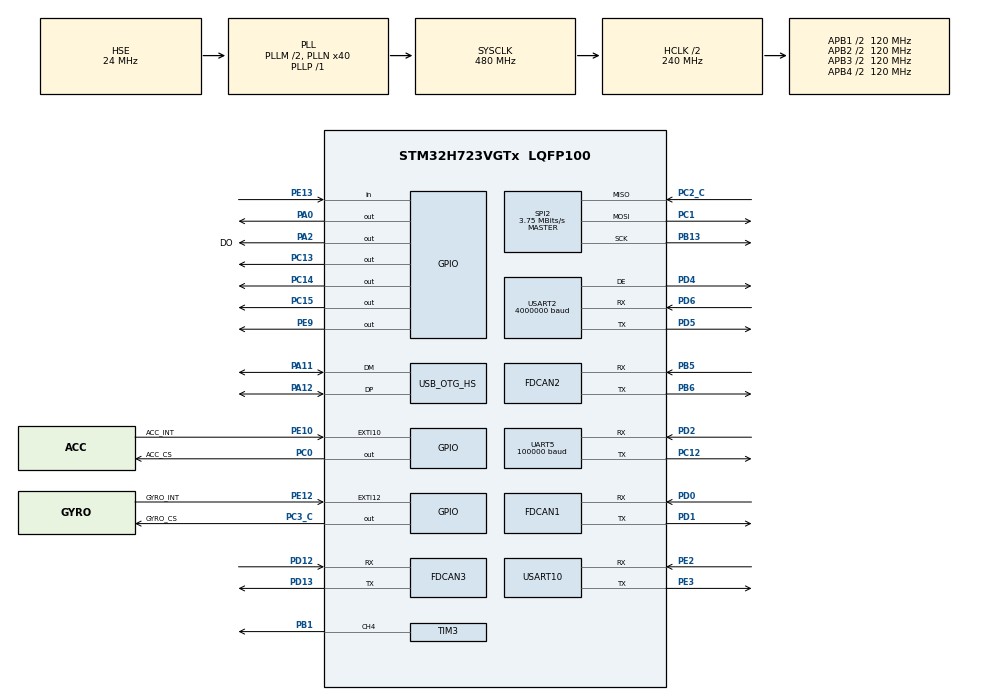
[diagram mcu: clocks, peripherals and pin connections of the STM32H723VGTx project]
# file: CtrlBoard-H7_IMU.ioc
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Dma.Request0=SPI2_RX
Dma.Request1=SPI2_TX
Dma.Request2=UART5_RX
Dma.Request3=USART2_RX
Dma.Request4=USART2_TX
Dma.Request5=USART10_RX
Dma.Request6=USART10_TX
Dma.SPI2_RX.0.Direction=DMA_PERIPH_TO_MEMORY
Dma.SPI2_RX.0.EventEnable=DISABLE
Dma.SPI2_RX.0.FIFOMode=DMA_FIFOMODE_DISABLE
Dma.SPI2_RX.0.Instance=DMA1_Stream0
Dma.SPI2_RX.0.MemDataAlignment=DMA_MDATAALIGN_BYTE
Dma.SPI2_RX.0.MemInc=DMA_MINC_ENABLE
Dma.SPI2_RX.0.Mode=DMA_NORMAL
Dma.SPI2_RX.0.PeriphDataAlignment=DMA_PDATAALIGN_BYTE
Dma.SPI2_RX.0.PeriphInc=DMA_PINC_DISABLE
Dma.SPI2_RX.0.Polarity=HAL_DMAMUX_REQ_GEN_RISING
Dma.SPI2_RX.0.Priority=DMA_PRIORITY_VERY_HIGH
Dma.SPI2_RX.0.RequestNumber=1
Dma.SPI2_RX.0.SignalID=NONE
Dma.SPI2_RX.0.SyncEnable=DISABLE
Dma.SPI2_RX.0.SyncPolarity=HAL_DMAMUX_SYNC_NO_EVENT
Dma.SPI2_RX.0.SyncRequestNumber=1
Dma.SPI2_RX.0.SyncSignalID=NONE
Dma.SPI2_TX.1.Direction=DMA_MEMORY_TO_PERIPH
Dma.SPI2_TX.1.EventEnable=DISABLE
Dma.SPI2_TX.1.FIFOMode=DMA_FIFOMODE_DISABLE
Dma.SPI2_TX.1.Instance=DMA1_Stream1
Dma.SPI2_TX.1.MemDataAlignment=DMA_MDATAALIGN_BYTE
Dma.SPI2_TX.1.MemInc=DMA_MINC_ENABLE
Dma.SPI2_TX.1.Mode=DMA_NORMAL
Dma.SPI2_TX.1.PeriphDataAlignment=DMA_PDATAALIGN_BYTE
Dma.SPI2_TX.1.PeriphInc=DMA_PINC_DISABLE
Dma.SPI2_TX.1.Polarity=HAL_DMAMUX_REQ_GEN_RISING
Dma.SPI2_TX.1.Priority=DMA_PRIORITY_HIGH
Dma.SPI2_TX.1.RequestNumber=1
Dma.SPI2_TX.1.SignalID=NONE
Dma.SPI2_TX.1.SyncEnable=DISABLE
Dma.SPI2_TX.1.SyncPolarity=HAL_DMAMUX_SYNC_NO_EVENT
Dma.SPI2_TX.1.SyncRequestNumber=1
Dma.SPI2_TX.1.SyncSignalID=NONE
Dma.UART5_RX.2.Direction=DMA_PERIPH_TO_MEMORY
Dma.UART5_RX.2.EventEnable=DISABLE
Dma.UART5_RX.2.FIFOMode=DMA_FIFOMODE_DISABLE
Dma.UART5_RX.2.Instance=DMA1_Stream2
Dma.UART5_RX.2.MemDataAlignment=DMA_MDATAALIGN_BYTE
Dma.UART5_RX.2.MemInc=DMA_MINC_ENABLE
Dma.UART5_RX.2.Mode=DMA_CIRCULAR
Dma.UART5_RX.2.PeriphDataAlignment=DMA_PDATAALIGN_BYTE
Dma.UART5_RX.2.PeriphInc=DMA_PINC_DISABLE
Dma.UART5_RX.2.Polarity=HAL_DMAMUX_REQ_GEN_RISING
Dma.UART5_RX.2.Priority=DMA_PRIORITY_VERY_HIGH
Dma.UART5_RX.2.RequestNumber=1
Dma.UART5_RX.2.SignalID=NONE
Dma.UART5_RX.2.SyncEnable=DISABLE
Dma.UART5_RX.2.SyncPolarity=HAL_DMAMUX_SYNC_NO_EVENT
Dma.UART5_RX.2.SyncRequestNumber=1
Dma.UART5_RX.2.SyncSignalID=NONE
Dma.USART10_RX.5.Direction=DMA_PERIPH_TO_MEMORY
Dma.USART10_RX.5.EventEnable=DISABLE
Dma.USART10_RX.5.FIFOMode=DMA_FIFOMODE_DISABLE
Dma.USART10_RX.5.Instance=DMA1_Stream5
Dma.USART10_RX.5.MemDataAlignment=DMA_MDATAALIGN_BYTE
Dma.USART10_RX.5.MemInc=DMA_MINC_ENABLE
Dma.USART10_RX.5.Mode=DMA_CIRCULAR
Dma.USART10_RX.5.PeriphDataAlignment=DMA_PDATAALIGN_BYTE
Dma.USART10_RX.5.PeriphInc=DMA_PINC_DISABLE
Dma.USART10_RX.5.Polarity=HAL_DMAMUX_REQ_GEN_RISING
Dma.USART10_RX.5.Priority=DMA_PRIORITY_HIGH
Dma.USART10_RX.5.RequestNumber=1
Dma.USART10_RX.5.SignalID=NONE
Dma.USART10_RX.5.SyncEnable=DISABLE
Dma.USART10_RX.5.SyncPolarity=HAL_DMAMUX_SYNC_NO_EVENT
Dma.USART10_RX.5.SyncRequestNumber=1
Dma.USART10_RX.5.SyncSignalID=NONE
Dma.USART10_TX.6.Direction=DMA_MEMORY_TO_PERIPH
Dma.USART10_TX.6.EventEnable=DISABLE
Dma.USART10_TX.6.FIFOMode=DMA_FIFOMODE_DISABLE
Dma.USART10_TX.6.Instance=DMA1_Stream6
Dma.USART10_TX.6.MemDataAlignment=DMA_MDATAALIGN_BYTE
Dma.USART10_TX.6.MemInc=DMA_MINC_ENABLE
Dma.USART10_TX.6.Mode=DMA_NORMAL
Dma.USART10_TX.6.PeriphDataAlignment=DMA_PDATAALIGN_BYTE
Dma.USART10_TX.6.PeriphInc=DMA_PINC_DISABLE
Dma.USART10_TX.6.Polarity=HAL_DMAMUX_REQ_GEN_RISING
Dma.USART10_TX.6.Priority=DMA_PRIORITY_HIGH
Dma.USART10_TX.6.RequestNumber=1
Dma.USART10_TX.6.SignalID=NONE
Dma.USART10_TX.6.SyncEnable=DISABLE
Dma.USART10_TX.6.SyncPolarity=HAL_DMAMUX_SYNC_NO_EVENT
Dma.USART10_TX.6.SyncRequestNumber=1
Dma.USART10_TX.6.SyncSignalID=NONE
Dma.USART2_RX.3.Direction=DMA_PERIPH_TO_MEMORY
Dma.USART2_RX.3.EventEnable=DISABLE
Dma.USART2_RX.3.FIFOMode=DMA_FIFOMODE_DISABLE
Dma.USART2_RX.3.Instance=DMA1_Stream3
Dma.USART2_RX.3.MemDataAlignment=DMA_MDATAALIGN_BYTE
Dma.USART2_RX.3.MemInc=DMA_MINC_ENABLE
Dma.USART2_RX.3.Mode=DMA_CIRCULAR
Dma.USART2_RX.3.PeriphDataAlignment=DMA_PDATAALIGN_BYTE
Dma.USART2_RX.3.PeriphInc=DMA_PINC_DISABLE
Dma.USART2_RX.3.Polarity=HAL_DMAMUX_REQ_GEN_RISING
Dma.USART2_RX.3.Priority=DMA_PRIORITY_HIGH
Dma.USART2_RX.3.RequestNumber=1
Dma.USART2_RX.3.SignalID=NONE
Dma.USART2_RX.3.SyncEnable=DISABLE
Dma.USART2_RX.3.SyncPolarity=HAL_DMAMUX_SYNC_NO_EVENT
Dma.USART2_RX.3.SyncRequestNumber=1
Dma.USART2_RX.3.SyncSignalID=NONE
Dma.USART2_TX.4.Direction=DMA_MEMORY_TO_PERIPH
Dma.USART2_TX.4.EventEnable=DISABLE
Dma.USART2_TX.4.FIFOMode=DMA_FIFOMODE_DISABLE
Dma.USART2_TX.4.Instance=DMA1_Stream4
Dma.USART2_TX.4.MemDataAlignment=DMA_MDATAALIGN_BYTE
Dma.USART2_TX.4.MemInc=DMA_MINC_ENABLE
Dma.USART2_TX.4.Mode=DMA_NORMAL
Dma.USART2_TX.4.PeriphDataAlignment=DMA_PDATAALIGN_BYTE
Dma.USART2_TX.4.PeriphInc=DMA_PINC_DISABLE
Dma.USART2_TX.4.Polarity=HAL_DMAMUX_REQ_GEN_RISING
Dma.USART2_TX.4.Priority=DMA_PRIORITY_HIGH
Dma.USART2_TX.4.RequestNumber=1
Dma.USART2_TX.4.SignalID=NONE
Dma.USART2_TX.4.SyncEnable=DISABLE
Dma.USART2_TX.4.SyncPolarity=HAL_DMAMUX_SYNC_NO_EVENT
Dma.USART2_TX.4.SyncRequestNumber=1
Dma.USART2_TX.4.SyncSignalID=NONE
FDCAN1.CalculateBaudRateNominal=1000000
FDCAN1.CalculateTimeBitNominal=1000
FDCAN1.CalculateTimeQuantumNominal=25.0
FDCAN1.DataPrescaler=3
FDCAN1.DataSyncJumpWidth=10
FDCAN1.DataTimeSeg1=29
FDCAN1.DataTimeSeg2=10
FDCAN1.ExtFiltersNbr=5
FDCAN1.MessageRAMOffset=5
FDCAN1.NominalPrescaler=3
FDCAN1.NominalSyncJumpWidth=10
FDCAN1.NominalTimeSeg1=29
FDCAN1.NominalTimeSeg2=10
FDCAN1.RxFifo0ElmtSize=FDCAN_DATA_BYTES_24
FDCAN1.RxFifo0ElmtsNbr=4
FDCAN1.RxFifo1ElmtSize=FDCAN_DATA_BYTES_24
FDCAN1.StdFiltersNbr=5
FDCAN1.TxElmtSize=FDCAN_DATA_BYTES_24
FDCAN1.TxFifoQueueElmtsNbr=8
FDCAN2.CalculateBaudRateNominal=1000000
FDCAN2.CalculateTimeBitNominal=1000
FDCAN2.CalculateTimeQuantumNominal=25.0
FDCAN2.DataPrescaler=3
FDCAN2.DataSyncJumpWidth=10
FDCAN2.DataTimeSeg1=29
FDCAN2.DataTimeSeg2=10
FDCAN2.ExtFiltersNbr=5
FDCAN2.MessageRAMOffset=854
FDCAN2.NominalPrescaler=3
FDCAN2.NominalSyncJumpWidth=10
FDCAN2.NominalTimeSeg1=29
FDCAN2.NominalTimeSeg2=10
FDCAN2.RxFifo1ElmtSize=FDCAN_DATA_BYTES_24
FDCAN2.RxFifo1ElmtsNbr=4
FDCAN2.StdFiltersNbr=5
FDCAN2.TxElmtSize=FDCAN_DATA_BYTES_24
FDCAN2.TxFifoQueueElmtsNbr=4
FDCAN3.CalculateBaudRateNominal=1000000
FDCAN3.CalculateTimeBitNominal=1000
FDCAN3.CalculateTimeQuantumNominal=25.0
FDCAN3.DataPrescaler=3
FDCAN3.DataSyncJumpWidth=10
FDCAN3.DataTimeSeg1=29
FDCAN3.DataTimeSeg2=5
FDCAN3.ExtFiltersNbr=5
FDCAN3.MessageRAMOffset=1709
FDCAN3.NominalPrescaler=3
FDCAN3.NominalSyncJumpWidth=10
FDCAN3.NominalTimeSeg1=29
FDCAN3.NominalTimeSeg2=10
FDCAN3.RxFifo0ElmtSize=FDCAN_DATA_BYTES_24
FDCAN3.RxFifo0ElmtsNbr=4
FDCAN3.StdFiltersNbr=5
FDCAN3.TxElmtSize=FDCAN_DATA_BYTES_24
FDCAN3.TxFifoQueueElmtsNbr=4
FREERTOS.MEMORY_ALLOCATION=0
FREERTOS.Tasks01=defaultTask,0,128,StartDefaultTask,Default,NULL,Dynamic,NULL,NULL;INS_TASK,3,512,INS_Task,Default,NULL,Dynamic,NULL,NULL;CHASSIS_TASK,1,512,CHASSIS_Task,Default,NULL,Dynamic,NULL,NULL;PS2_TASK,-3,512,PS2_Task,Default,NULL,Dynamic,NULL,NULL;MOTOR_FB_TASK,-2,256,Motor_Fb_Task,Default,NULL,Dynamic,NULL,NULL
FREERTOS.configENABLE_FPU=1
FREERTOS.configTOTAL_HEAP_SIZE=30720
Mcu.Family=STM32H7
Mcu.Name=STM32H723VGTx
Mcu.Package=LQFP100
NVIC.DMA1_Stream0_IRQn=true\:6\:0\:true\:false\:true\:true\:false\:true\:true
NVIC.DMA1_Stream1_IRQn=true\:6\:0\:true\:false\:true\:true\:false\:true\:true
NVIC.DMA1_Stream2_IRQn=true\:5\:0\:false\:false\:true\:true\:false\:true\:true
NVIC.DMA1_Stream3_IRQn=true\:5\:0\:false\:false\:true\:true\:false\:true\:true
NVIC.DMA1_Stream4_IRQn=true\:5\:0\:false\:false\:true\:true\:false\:true\:true
NVIC.DMA1_Stream5_IRQn=true\:5\:0\:false\:false\:true\:true\:false\:true\:true
NVIC.DMA1_Stream6_IRQn=true\:5\:0\:false\:false\:true\:true\:false\:true\:true
NVIC.FDCAN1_IT0_IRQn=true\:6\:0\:true\:false\:true\:true\:true\:true\:true
NVIC.FDCAN2_IT0_IRQn=true\:5\:0\:true\:false\:true\:true\:true\:true\:true
NVIC.FDCAN3_IT0_IRQn=true\:5\:0\:false\:false\:true\:true\:true\:true\:true
NVIC.OTG_HS_IRQn=true\:5\:0\:false\:false\:true\:true\:false\:true\:true
NVIC.PriorityGroup=NVIC_PRIORITYGROUP_4
NVIC.SPI2_IRQn=true\:5\:0\:true\:false\:true\:true\:false\:true\:true
NVIC.TIM2_IRQn=true\:15\:0\:false\:false\:true\:false\:false\:true\:true
NVIC.TimeBase=TIM2_IRQn
NVIC.TimeBaseIP=TIM2
NVIC.UART5_IRQn=true\:5\:0\:false\:false\:true\:true\:true\:true\:true
NVIC.USART10_IRQn=true\:5\:0\:false\:false\:true\:true\:true\:true\:true
NVIC.USART2_IRQn=true\:5\:0\:false\:false\:true\:true\:true\:true\:true
PA0.GPIO_ModeDefaultOutputPP=GPIO_MODE_OUTPUT_PP
PA0.GPIO_PuPd=GPIO_PULLUP
PA0.GPIO_Speed=GPIO_SPEED_FREQ_VERY_HIGH
PA0.Signal=GPIO_Output
PA11.Mode=Device_Only_FS
PA11.Signal=USB_OTG_HS_DM
PA12.Mode=Device_Only_FS
PA12.Signal=USB_OTG_HS_DP
PA13(JTMS/SWDIO).Mode=Serial_Wire
PA13(JTMS/SWDIO).Signal=DEBUG_JTMS-SWDIO
PA14(JTCK/SWCLK).Mode=Serial_Wire
PA14(JTCK/SWCLK).Signal=DEBUG_JTCK-SWCLK
PA2.GPIO_Label=DO
PA2.GPIO_PuPd=GPIO_PULLUP
PA2.GPIO_Speed=GPIO_SPEED_FREQ_VERY_HIGH
PA2.PinState=GPIO_PIN_SET
PA2.Signal=GPIO_Output
PB1.Signal=S_TIM3_CH4
PB13.GPIO_Speed=GPIO_SPEED_FREQ_VERY_HIGH
PB13.Mode=Full_Duplex_Master
PB13.Signal=SPI2_SCK
PB5.Mode=FDCAN_Activate
PB5.Signal=FDCAN2_RX
PB6.Mode=FDCAN_Activate
PB6.Signal=FDCAN2_TX
PC0.GPIO_Label=ACC_CS
PC0.GPIO_Speed=GPIO_SPEED_FREQ_VERY_HIGH
PC0.PinState=GPIO_PIN_SET
PC0.Signal=GPIO_Output
PC1.GPIO_Speed=GPIO_SPEED_FREQ_VERY_HIGH
PC1.Mode=Full_Duplex_Master
PC1.Signal=SPI2_MOSI
PC12.Mode=Asynchronous
PC12.Signal=UART5_TX
PC13.Signal=GPIO_Output
PC14-OSC32_IN.Signal=GPIO_Output
PC15-OSC32_OUT.PinState=GPIO_PIN_SET
PC15-OSC32_OUT.Signal=GPIO_Output
PC2_C.GPIO_Speed=GPIO_SPEED_FREQ_VERY_HIGH
PC2_C.Mode=Full_Duplex_Master
PC2_C.Signal=SPI2_MISO
PC3_C.GPIO_Label=GYRO_CS
PC3_C.GPIO_Speed=GPIO_SPEED_FREQ_VERY_HIGH
PC3_C.PinState=GPIO_PIN_SET
PC3_C.Signal=GPIO_Output
PD0.Mode=FDCAN_Activate
PD0.Signal=FDCAN1_RX
PD1.Mode=FDCAN_Activate
PD1.Signal=FDCAN1_TX
PD12.Mode=FDCAN_Activate
PD12.Signal=FDCAN3_RX
PD13.Mode=FDCAN_Activate
PD13.Signal=FDCAN3_TX
PD2.Mode=Asynchronous
PD2.Signal=UART5_RX
PD4.Mode=Hardware Flow Control (RS485)
PD4.Signal=USART2_DE
PD5.Mode=Asynchronous
PD5.Signal=USART2_TX
PD6.Mode=Asynchronous
PD6.Signal=USART2_RX
PE10.GPIO_Label=ACC_INT
PE10.Signal=GPXTI10
PE12.GPIO_Label=GYRO_INT
PE12.Signal=GPXTI12
PE13.GPIO_PuPd=GPIO_PULLUP
PE13.Signal=GPIO_Input
PE2.Mode=Asynchronous
PE2.Signal=USART10_RX
PE3.Mode=Asynchronous
PE3.Signal=USART10_TX
PE9.GPIO_ModeDefaultOutputPP=GPIO_MODE_OUTPUT_PP
PE9.GPIO_PuPd=GPIO_PULLUP
PE9.GPIO_Speed=GPIO_SPEED_FREQ_VERY_HIGH
PE9.Signal=GPIO_Output
PH0-OSC_IN.Mode=HSE-External-Oscillator
PH0-OSC_IN.Signal=RCC_OSC_IN
PH1-OSC_OUT.Mode=HSE-External-Oscillator
PH1-OSC_OUT.Signal=RCC_OSC_OUT
ProjectManager.HeapSize=0x200
ProjectManager.StackSize=0x800
ProjectManager.TargetToolchain=MDK-ARM V5.27
RCC.ADCFreq_Value=100000000
RCC.APB1Freq_Value=120000000
RCC.APB2Freq_Value=120000000
RCC.APB3Freq_Value=120000000
RCC.APB4Freq_Value=120000000
RCC.CortexFreq_Value=480000000
RCC.D1PPRE=RCC_APB3_DIV2
RCC.D2PPRE1=RCC_APB1_DIV2
RCC.D2PPRE2=RCC_APB2_DIV2
RCC.D3PPRE=RCC_APB4_DIV2
RCC.DIVM1=2
RCC.DIVM2=24
RCC.DIVN1=40
RCC.DIVN2=200
RCC.DIVP1=1
RCC.DIVQ1=4
RCC.DIVR1=4
RCC.HCLKFreq_Value=240000000
RCC.HPRE=RCC_HCLK_DIV2
RCC.HSE_VALUE=24000000
RCC.PLL2FRACN=0
RCC.PLL3FRACN=0
RCC.PLLFRACN=0
RCC.PLLSourceVirtual=RCC_PLLSOURCE_HSE
RCC.SYSCLKFreq_VALUE=480000000
RCC.SYSCLKSource=RCC_SYSCLKSOURCE_PLLCLK
RCC.USBCLockSelection=RCC_USBCLKSOURCE_HSI48
RCC.USBFreq_Value=48000000
SH.S_TIM3_CH4.0=TIM3_CH4,PWM Generation4 CH4
SPI2.BaudRatePrescaler=SPI_BAUDRATEPRESCALER_32
SPI2.CLKPhase=SPI_PHASE_2EDGE
SPI2.CLKPolarity=SPI_POLARITY_HIGH
SPI2.CalculateBaudRate=3.75 MBits/s
SPI2.DataSize=SPI_DATASIZE_8BIT
SPI2.Direction=SPI_DIRECTION_2LINES
SPI2.Mode=SPI_MODE_MASTER
SPI2.VirtualType=VM_MASTER
TIM3.AutoReloadPreload=TIM_AUTORELOAD_PRELOAD_ENABLE
TIM3.Channel-PWM\ Generation4\ CH4=TIM_CHANNEL_4
TIM3.Period=10000-1
TIM3.Prescaler=24-1
UART5.BaudRate=100000
UART5.Mode=MODE_RX
UART5.Parity=PARITY_EVEN
UART5.StopBits=UART_STOPBITS_2
UART5.WordLength=WORDLENGTH_9B
USART10.VirtualMode=VM_ASYNC
USART2.BaudRate=4000000
USART2.OverSampling=UART_OVERSAMPLING_16
USART2.UART_DEAssertionTime=0
USART2.UART_DEDeassertionTime=0
USART2.VirtualMode-Asynchronous=VM_ASYNC
USART2.VirtualMode-Hardware\ Flow\ Control\ (RS485)=VM_ASYNC
USB_DEVICE.CLASS_NAME_HS=CDC
USB_DEVICE.VirtualMode=Cdc
USB_DEVICE.VirtualModeHS=Cdc_HS
USB_OTG_HS.VirtualMode-Device_Only_FS=Device_Only_FS
VP_FREERTOS_VS_CMSIS_V1.Mode=CMSIS_V1
VP_SYS_VS_tim2.Mode=TIM2
VP_USB_DEVICE_VS_USB_DEVICE_CDC_HS.Mode=CDC_HS
board=custom

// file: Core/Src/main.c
/* USER CODE BEGIN Header */
/**
  ******************************************************************************
  * @file           : main.c
  * @brief          : Main program body
  ******************************************************************************
  * @attention
  *
  * Copyright (c) 2024 STMicroelectronics.
  * All rights reserved.
  *
  * This software is licensed under terms that can be found in the LICENSE file
  * in the root directory of this software component.
  * If no LICENSE file comes with this software, it is provided AS-IS.
  *
  ******************************************************************************
  */
/* USER CODE END Header */
#include "main.h"
#include "cmsis_os.h"
#include "dma.h"
#include "fdcan.h"
#include "spi.h"
#include "tim.h"
#include "usart.h"
#include "usb_device.h"
#include "gpio.h"

/* USER CODE BEGIN Includes */
#include "BMI088driver.h"
#include "kalman_filter.h"
#include "mahony_filter.h"
#include "bsp_dwt.h"
#include "BMI088Middleware.h"
#include "bsp_can.h"
#include "bsp_uart.h"
#include "user_sys_config.h"
/* USER CODE END Includes */

void SystemClock_Config(void);
void MX_FREERTOS_Init(void);

int main(void)
{

  /* MCU Configuration--------------------------------------------------------*/

  /* Reset of all peripherals, Initializes the Flash interface and the Systick. */
  HAL_Init();

  /* USER CODE BEGIN Init */
//06 01 00 00 00 00 00 00 00 00 00 00 00 00 80 3F
  /* USER CODE END Init */

  /* Configure the system clock */
  SystemClock_Config();

  /* Initialize all configured peripherals */
  MX_GPIO_Init();
  MX_DMA_Init();
  MX_SPI2_Init();
  MX_FDCAN1_Init();
  MX_FDCAN2_Init();
  MX_TIM3_Init();
  MX_FDCAN3_Init();
  MX_UART5_Init();
  MX_USART2_UART_Init();
  MX_USART10_UART_Init();
  /* USER CODE BEGIN 2 */
  MX_USB_DEVICE_Init();
  DWT_Init(480);
  /*���ڳ�ʼ�� */
  BSP_USART_Init();
  PS2_Init();
  /* ϵͳ�ӳ����� */
  HAL_Delay(SYS_DELAY_START_TIME);
  /* BMI088��ʼ�� */
  while (BMI088_init(&hspi2, 0) != BMI088_NO_ERROR)
  {
	  ;
  }
  Power_OUT1_ON;//imu��ʼ����ɣ��ɿص�Դ�򿪣�led����
  Power_OUT2_ON;

  FDCAN1_Config();//can��������ʼ��
  FDCAN2_Config();
  FDCAN3_Config();

  /* USER CODE END 2 */

  /* Call init function for freertos objects (in cmsis_os2.c) */
  MX_FREERTOS_Init();

  /* Start scheduler */
  osKernelStart();

  /* We should never get here as control is now taken by the scheduler */

  /* Infinite loop */
  while (1)
  {

  }
}

void SystemClock_Config(void)
{
  RCC_OscInitTypeDef RCC_OscInitStruct = {0};
  RCC_ClkInitTypeDef RCC_ClkInitStruct = {0};

  /** Supply configuration update enable
  */
  HAL_PWREx_ConfigSupply(PWR_LDO_SUPPLY);

  /** Configure the main internal regulator output voltage
  */
  __HAL_PWR_VOLTAGESCALING_CONFIG(PWR_REGULATOR_VOLTAGE_SCALE0);

  while(!__HAL_PWR_GET_FLAG(PWR_FLAG_VOSRDY)) {}

  /** Initializes the RCC Oscillators according to the specified parameters
  * in the RCC_OscInitTypeDef structure.
  */
  RCC_OscInitStruct.OscillatorType = RCC_OSCILLATORTYPE_HSI48|RCC_OSCILLATORTYPE_HSE;
  RCC_OscInitStruct.HSEState = RCC_HSE_ON;
  RCC_OscInitStruct.HSI48State = RCC_HSI48_ON;
  RCC_OscInitStruct.PLL.PLLState = RCC_PLL_ON;
  RCC_OscInitStruct.PLL.PLLSource = RCC_PLLSOURCE_HSE;
  RCC_OscInitStruct.PLL.PLLM = 2;
  RCC_OscInitStruct.PLL.PLLN = 40;
  RCC_OscInitStruct.PLL.PLLP = 1;
  RCC_OscInitStruct.PLL.PLLQ = 4;
  RCC_OscInitStruct.PLL.PLLR = 4;
  RCC_OscInitStruct.PLL.PLLRGE = RCC_PLL1VCIRANGE_3;
  RCC_OscInitStruct.PLL.PLLVCOSEL = RCC_PLL1VCOWIDE;
  RCC_OscInitStruct.PLL.PLLFRACN = 0;
  if (HAL_RCC_OscConfig(&RCC_OscInitStruct) != HAL_OK)
  {
    Error_Handler();
  }

  /** Initializes the CPU, AHB and APB buses clocks
  */
  RCC_ClkInitStruct.ClockType = RCC_CLOCKTYPE_HCLK|RCC_CLOCKTYPE_SYSCLK
                              |RCC_CLOCKTYPE_PCLK1|RCC_CLOCKTYPE_PCLK2
                              |RCC_CLOCKTYPE_D3PCLK1|RCC_CLOCKTYPE_D1PCLK1;
  RCC_ClkInitStruct.SYSCLKSource = RCC_SYSCLKSOURCE_PLLCLK;
  RCC_ClkInitStruct.SYSCLKDivider = RCC_SYSCLK_DIV1;
  RCC_ClkInitStruct.AHBCLKDivider = RCC_HCLK_DIV2;
  RCC_ClkInitStruct.APB3CLKDivider = RCC_APB3_DIV2;
  RCC_ClkInitStruct.APB1CLKDivider = RCC_APB1_DIV2;
  RCC_ClkInitStruct.APB2CLKDivider = RCC_APB2_DIV2;
  RCC_ClkInitStruct.APB4CLKDivider = RCC_APB4_DIV2;

  if (HAL_RCC_ClockConfig(&RCC_ClkInitStruct, FLASH_LATENCY_3) != HAL_OK)
  {
    Error_Handler();
  }
}

void HAL_TIM_PeriodElapsedCallback(TIM_HandleTypeDef *htim)
{
  if (htim->Instance == TIM2) {
    HAL_IncTick();
  }
}

void Error_Handler(void)
{
  __disable_irq();
  while (1)
  {
  }
}

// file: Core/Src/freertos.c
/* USER CODE BEGIN Header */
/**
  ******************************************************************************
  * File Name          : freertos.c
  * Description        : Code for freertos applications
  ******************************************************************************
  * @attention
  *
  * Copyright (c) 2024 STMicroelectronics.
  * All rights reserved.
  *
  * This software is licensed under terms that can be found in the LICENSE file
  * in the root directory of this software component.
  * If no LICENSE file comes with this software, it is provided AS-IS.
  *
  ******************************************************************************
  */
/* USER CODE END Header */

#include "FreeRTOS.h"
#include "task.h"
#include "main.h"
#include "cmsis_os.h"

/* USER CODE BEGIN Includes */
#include "INS_task.h"
#include "chassis_task.h"
#include "ps2_task.h"
/* USER CODE END Includes */

/* USER CODE BEGIN Variables */
osMutexId huart10_mutex_id;
/* USER CODE END Variables */
osThreadId defaultTaskHandle;
osThreadId INS_TASKHandle;
osThreadId CHASSIS_TASKHandle;
osThreadId PS2_TASKHandle;
osThreadId MOTOR_FB_TASKHandle;

void StartDefaultTask(void const * argument);
void INS_Task(void const * argument);
void CHASSIS_Task(void const * argument);
void PS2_Task(void const * argument);
void Motor_Fb_Task(void const * argument);

extern void MX_USB_DEVICE_Init(void);
void MX_FREERTOS_Init(void); /* (MISRA C 2004 rule 8.1) */

void MX_FREERTOS_Init(void) {

  /* USER CODE BEGIN RTOS_MUTEX */
  osMutexDef(huart10_mutex);
  huart10_mutex_id = osMutexCreate(osMutex(huart10_mutex));
  /* USER CODE END RTOS_MUTEX */

  /* Create the thread(s) */
  /* definition and creation of defaultTask */
  osThreadDef(defaultTask, StartDefaultTask, osPriorityNormal, 0, 128);
  defaultTaskHandle = osThreadCreate(osThread(defaultTask), NULL);

  /* definition and creation of INS_TASK */
  osThreadDef(INS_TASK, INS_Task, osPriorityRealtime, 0, 1024);
  INS_TASKHandle = osThreadCreate(osThread(INS_TASK), NULL);

  /* definition and creation of CHASSIS_TASK */
  osThreadDef(CHASSIS_TASK, CHASSIS_Task, osPriorityAboveNormal, 0, 512);
  CHASSIS_TASKHandle = osThreadCreate(osThread(CHASSIS_TASK), NULL);

  /* definition and creation of PS2_TASK */
  osThreadDef(PS2_TASK, PS2_Task, osPriorityRealtime, 0, 512);
  PS2_TASKHandle = osThreadCreate(osThread(PS2_TASK), NULL);

  /* definition and creation of MOTOR_FB_TASK */
  osThreadDef(MOTOR_FB_TASK, Motor_Fb_Task, osPriorityHigh, 0, 256);
  MOTOR_FB_TASKHandle = osThreadCreate(osThread(MOTOR_FB_TASK), NULL);

}

void StartDefaultTask(void const * argument)
{
  /* init code for USB_DEVICE */
  MX_USB_DEVICE_Init();
  for(;;)
  {
    osDelay(1);
  }
}

void INS_Task(void const * argument)
{
  /* USER CODE BEGIN INS_Task */

  /* Infinite loop */
  for(;;)
  {
    INS_task();
  }
  /* USER CODE END INS_Task */
}

void CHASSIS_Task(void const * argument)
{
  /* USER CODE BEGIN CHASSIS_Task */
  /* Infinite loop */
  for(;;)
  {
    chassis_task();
  }
  /* USER CODE END CHASSIS_Task */
}

void PS2_Task(void const * argument)
{
  /* USER CODE BEGIN PS2_Task */
  /* Infinite loop */
  for(;;)
  {
		PS2_task();

  }
  /* USER CODE END PS2_Task */
}

void Motor_Fb_Task(void const * argument)
{
  /* USER CODE BEGIN Motor_Fb_Task */
  /* Infinite loop */
  for(;;)
  {
    Motor_Feedback_Task();
  }
  /* USER CODE END Motor_Fb_Task */
}

/* USER CODE BEGIN Application */
void vApplicationStackOverflowHook(TaskHandle_t xTask, char *pcTaskName)
{
    /* 栈溢出时停在这里，方便调试器查看 pcTaskName */
    taskDISABLE_INTERRUPTS();
    for (;;);
}
/* USER CODE END Application */
